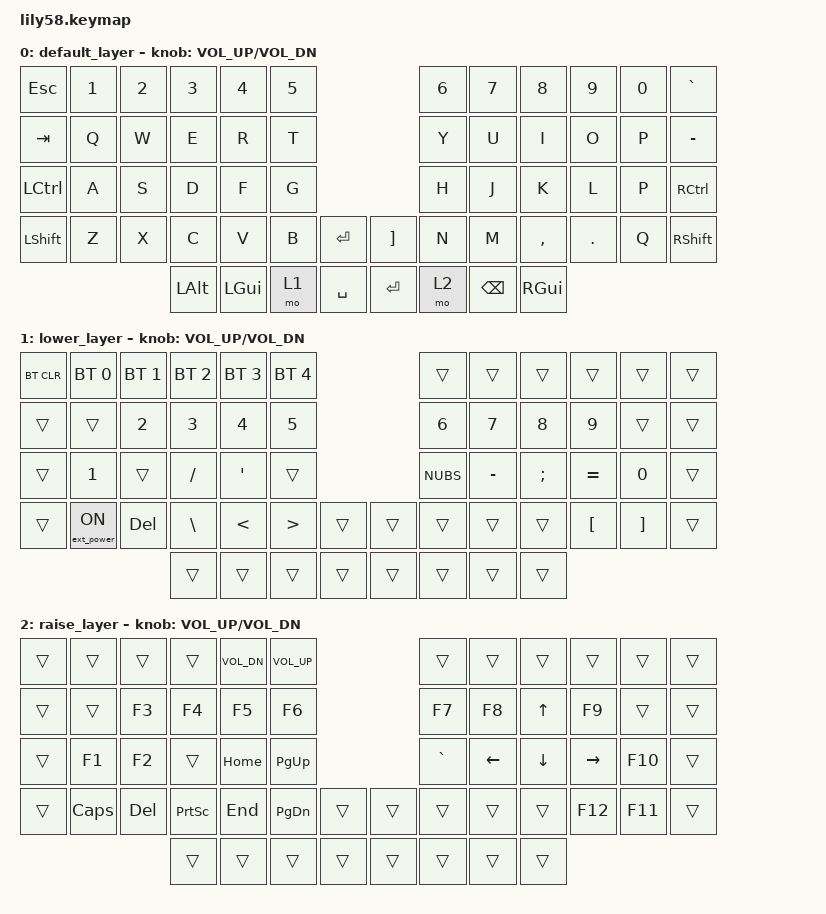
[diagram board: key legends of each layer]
/*
 * Copyright (c) 2020 The ZMK Contributors
 *
 * SPDX-License-Identifier: MIT
 */

#include <behaviors.dtsi>
#include <dt-bindings/zmk/keys.h>
#include <dt-bindings/zmk/bt.h>
#include <dt-bindings/zmk/ext_power.h>

/ {
	keymap {
		compatible = "zmk,keymap";

   		default_layer {
// ------------------------------------------------------------------------------------------------------------
// |  ESC  |  1  |  2  |  3   |  4   |  5   |                   |  6   |  7    |  8    |  9   |   0   |   `   |
// |  TAB  |  Q  |  W  |  E   |  R   |  T   |                   |  Y   |  U    |  I    |  O   |       |   -   |
// | CTRL  |  A  |  S  |  D   |  F   |  G   |                   |  H   |  J    |  K    |  L   |   P   | CTRL  |
// | SHIFT |  Z  |  X  |  C   |  V   |  B   |  ENTER |  |  "]"  |  N   |  M    |  ,    |  .   |   /   | SHIFT |
//                     | ALT  | GUI  | LOWER|  SPACE |  | ENTER | RAISE| BSPC  | GUI   |
			bindings = <
&kp ESC   &kp N1 &kp N2 &kp N3   &kp N4   &kp N5                     &kp N6 &kp N7   &kp N8    &kp N9  &kp N0   &kp GRAVE
&kp TAB   &kp Q  &kp W  &kp E    &kp R    &kp T                      &kp Y  &kp U    &kp I     &kp O   &kp P 	&kp MINUS
&kp LCTRL &kp A  &kp S  &kp D    &kp F    &kp G                      &kp H  &kp J    &kp K     &kp L   &kp P 	&kp RCTRL
&kp LSHFT &kp Z  &kp X  &kp C    &kp V    &kp B  &kp RET	&kp RBKT &kp N  &kp M    &kp COMMA &kp DOT &kp Q 	&kp RSHFT
                        &kp LALT &kp LGUI &mo 1  &kp SPACE  &kp RET  &mo 2  &kp BSPC &kp RGUI
			>;

			sensor-bindings = <&inc_dec_kp C_VOL_UP C_VOL_DN>;
		};

		lower_layer {
// ------------------------------------------------------------------------------------------------------------
// | BTCLR 	| BT1 	| BT2 |  BT3 |  BT4 |  BT5 	|                   |      |       |       |      |       |       |
// |     	|   	|  N2 |  N3  |  N4  |  N5  	|                   |  N6  |  N7   |  N8   |  N9  |       |       |
// |  		|  N1  	| 	  |  /   |  '   |  		|                   |  \   |  -    |  ;    |  =   |  N10  |       |
// | 		| on 	| DEL |  \   |  <   |  >   	|        |  |       |      |       |       |  [   |  ]    |  	  |
//                  	  |      |      |      	|        |  |       |      |       |       |
			bindings = <
&bt BT_CLR 	&bt BT_SEL 0     	&bt BT_SEL 1      	&bt BT_SEL 2      	&bt BT_SEL 3 	&bt BT_SEL 4                 		&trans    	&trans    	&trans		&trans    	&trans    	&trans
&trans 		&trans           	&kp N2            	&kp N3            	&kp N4       	&kp N5                       		&kp N6     	&kp N7    	&kp N8		&kp N9   	&trans  	&trans
&trans   	&kp N1 				&trans 			&kp FSLH          	&kp SQT 		&trans  							&kp NUBS 	&kp MINUS 	&kp SEMI 	&kp EQUAL  	&kp N0  	&trans
&trans  	&ext_power EP_ON 	&kp DEL 			&kp BSLH 			&kp LT 	 		&kp GT    		&trans  &trans    	&trans 		&trans 		&trans   	&kp LBKT 	&kp RBKT  	&trans
                                &trans            	&trans       		&trans    		&trans   		&trans	&trans    	&trans    	&trans
			>;

			sensor-bindings = <&inc_dec_kp C_VOL_UP C_VOL_DN>;
		};

		raise_layer {
// ------------------------------------------------------------------------------------------------------------
// |   		   |     	|     	|      		| VOL_UP| VOL_DN	|                   |      	|       |       |      	|       |      	|
// |   `	   |     	|  F3 	|  F4  		|  F5  	|  F6  		|                   |  F7  	|   F8 	|   ^  	| F9  	|       |      	|
// |  		   |  F1 	|  F2	|   		|  HOME	| Page Up 	|                 	| `		|   <- 	|   v   |  ->  	|  F10  | 		|
// |           | CAPS	|  DEL 	| P_SCRN	|  END	| Page Down	|   	 |  |       |      	|       |       |  F12 	|  F11  |      	|
//                 	       		|      		|      	|      		|   	 |  |       | 	   	| 	   	| 	   	|  	   	  		   
			bindings = <
&trans 		&trans  	&trans  	&trans 		&kp K_VOL_DN 	&kp K_VOL_UP 	               	&trans      &trans    	&trans    	&trans   	&trans    	&trans
&trans  	&trans  	&kp F3 		&kp F4  	&kp F5  		&kp F6                       	&kp F7      &kp F8    	&kp UP    	&kp F9   	&trans 		&trans
&trans 		&kp F1 		&kp F2		&trans	 	&kp HOME		&kp PG_UP  						&kp GRAVE  	&kp LEFT  	&kp DOWN   	&kp RIGHT 	&kp F10		&trans
&trans 		&kp CAPS	&kp DEL	  	&kp PSCRN 	&kp END 		&kp PG_DN 	&trans   &trans    	&trans  	&trans		&trans 		&kp F12		&kp F11		&trans
                        			&trans  	&trans  		&trans   	&trans   &trans    	&trans      &trans    	&trans
			>;

			sensor-bindings = <&inc_dec_kp C_VOL_UP C_VOL_DN>;
		};
	};
};
